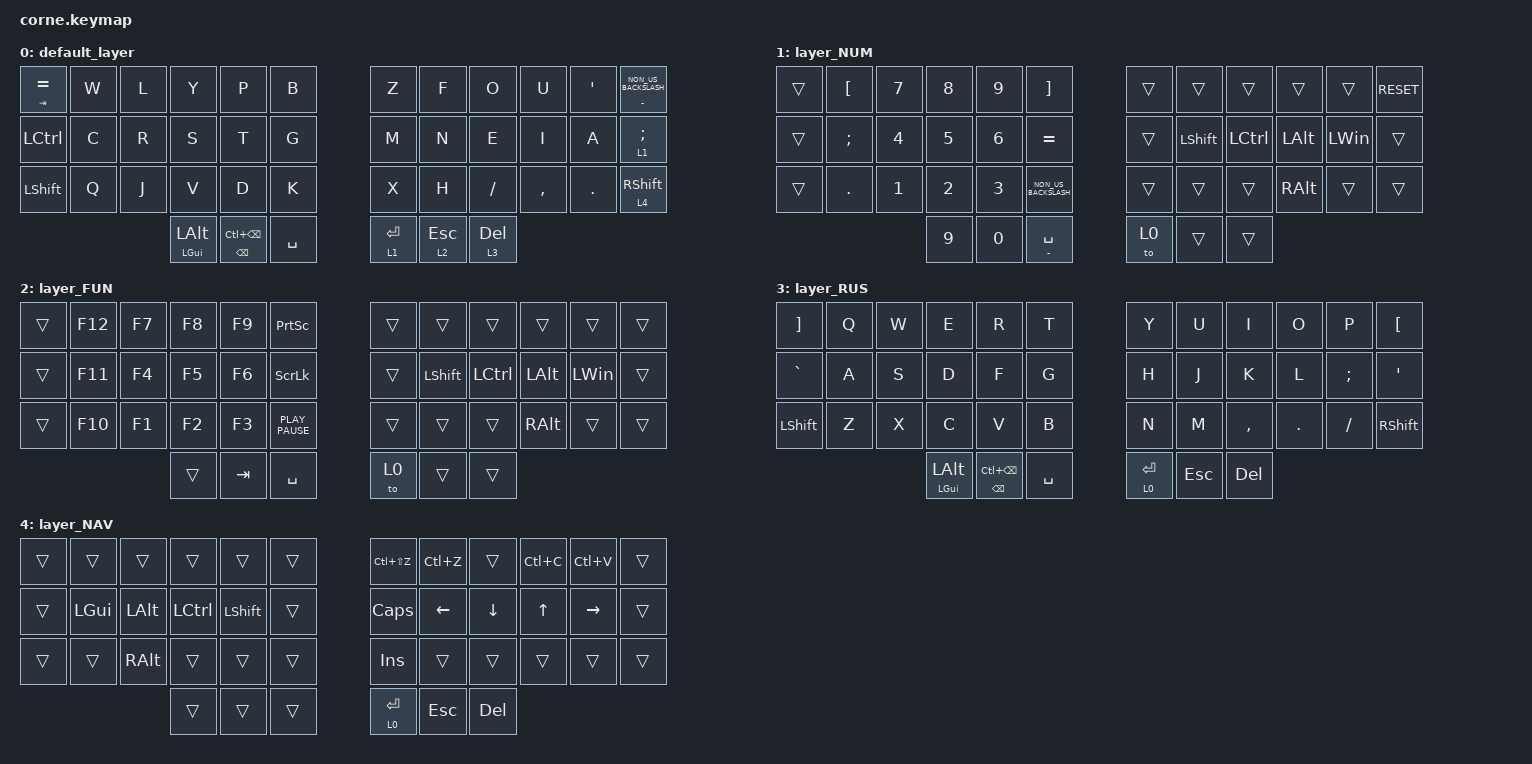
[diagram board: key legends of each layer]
/*
 * Copyright (c) 2020 The ZMK Contributors
 *
 * SPDX-License-Identifier: MIT
 */

#include <behaviors.dtsi>
#include <dt-bindings/zmk/keys.h>

/ {
    behaviors {
        tp: tap_preferred {
            compatible = "zmk,behavior-hold-tap";
            label = "TAP_PREFERRED";
            #binding-cells = <2>;
            tapping-term-ms = <150>;
            quick-tap-ms = <0>;
            flavor = "tap-preferred";
            bindings = <&kp>, <&kp>;
        };
    };

    combos { compatible = "zmk,combos"; };

    keymap {
        compatible = "zmk,keymap";

        default_layer {
            // -----------------------------------------------------------------------------------------
            // | TAB  |  Q  |  W  |  E  |  R  |    T    |   |  Y  |  U   |  I  |  O  |  P  | ESC |
            // | CTRL |  A  |  S  |  D  |  F  |    G    |   |  H  |  J   |  K  |  L  |  ;  |  LWR/'   |
            // | SHFT |  Z  |  X  |  C  |  V  |    B    |   |  N  |  M   |  ,  |  .  |  /  | SHFT |
            //                    | GUI | LWR | ALT/ENT |   | HYPER/SPC | BKSP  | RSE |

            bindings = <
&tp TAB EQUAL  &kp W  &kp L  &kp Y              &kp P                        &kp B        &kp Z        &kp F         &kp O      &kp U      &kp SQT     &tp MINUS NON_US_BACKSLASH
&kp LCTRL      &kp C  &kp R  &kp S              &kp T                        &kp G        &kp M        &kp N         &kp E      &kp I      &kp A       &lt 1 SEMICOLON
&kp LSHFT      &kp Q  &kp J  &kp V              &kp D                        &kp K        &kp X        &kp H         &kp SLASH  &kp COMMA  &kp PERIOD  &lt 4 RIGHT_SHIFT
                             &tp LGUI LEFT_ALT  &tp BACKSPACE LC(BACKSPACE)  &kp SPACE    &lt 1 ENTER  &lt 2 ESCAPE  &lt 3 DEL
            >;
        };

        layer_NUM {
            // -----------------------------------------------------------------------------------------
            // |      |  !  |  @  |  #  |  $  |    %     |   |  ^  |  &  |  *  |  (  |  )  |   \   |
            // |      |  1  |  2  |  3  |  4  |    5     |   |  -  |  =  |  `  |  [  |  ]  |  "|"  |
            // | SHFT |  6  |  7  |  8  |  9  |    0     |   |  _  |  +  |  ~  |  {  |  }  | RSHFT |
            //                     | GUI |     | ALT/ENT |   | HYPER/SPACE | BKSP |    |

            bindings = <
&trans  &kp LEFT_BRACKET  &kp N7        &kp N8        &kp N9        &kp RIGHT_BRACKET       &trans  &trans          &trans            &trans         &trans        &kp C_RESET
&trans  &kp SEMI          &kp NUMBER_4  &kp N5        &kp NUMBER_6  &kp EQUAL               &trans  &kp LEFT_SHIFT  &kp LEFT_CONTROL  &kp LEFT_ALT   &kp LEFT_WIN  &trans
&trans  &kp PERIOD        &kp NUMBER_1  &kp NUMBER_2  &kp NUMBER_3  &kp NON_US_BACKSLASH    &trans  &trans          &trans            &kp RIGHT_ALT  &trans        &trans
                                        &kp N9        &kp N0        &tp MINUS SPACE         &to 0   &trans          &trans
            >;
        };

        layer_FUN {
            bindings = <
&trans  &kp F12  &kp F7  &kp F8  &kp F9   &kp PRINTSCREEN     &trans  &trans          &trans            &trans         &trans        &trans
&trans  &kp F11  &kp F4  &kp F5  &kp F6   &kp SCROLLLOCK      &trans  &kp LEFT_SHIFT  &kp LEFT_CONTROL  &kp LEFT_ALT   &kp LEFT_WIN  &trans
&trans  &kp F10  &kp F1  &kp F2  &kp F3   &kp K_PLAY_PAUSE    &trans  &trans          &trans            &kp RIGHT_ALT  &trans        &trans
                         &trans  &kp TAB  &kp SPACE           &to 0   &trans          &trans
            >;
        };

        layer_RUS {
            bindings = <
&kp RIGHT_BRACKET  &kp Q  &kp W  &kp E              &kp R                        &kp T        &kp Y        &kp U       &kp I       &kp O    &kp P          &kp LEFT_BRACKET
&kp GRAVE          &kp A  &kp S  &kp D              &kp F                        &kp G        &kp H        &kp J       &kp K       &kp L    &kp SEMICOLON  &kp SQT
&kp LSHFT          &kp Z  &kp X  &kp C              &kp V                        &kp B        &kp N        &kp M       &kp COMMA   &kp DOT  &kp FSLH       &kp RIGHT_SHIFT
                                 &tp LGUI LEFT_ALT  &tp BACKSPACE LC(BACKSPACE)  &kp SPACE    &lt 0 ENTER  &kp ESCAPE  &kp DELETE
            >;
        };

        layer_NAV {
            bindings = <
&trans  &trans        &trans         &trans     &trans          &trans    &kp LC(LS(Z))  &kp LC(Z)       &trans          &kp LC(C)     &kp LC(V)  &trans
&trans  &kp LEFT_GUI  &kp LEFT_ALT   &kp LCTRL  &kp LEFT_SHIFT  &trans    &kp CLCK       &kp LEFT_ARROW  &kp DOWN_ARROW  &kp UP_ARROW  &kp RIGHT  &trans
&trans  &trans        &kp RIGHT_ALT  &trans     &trans          &trans    &kp INSERT     &trans          &trans          &trans        &trans     &trans
                                     &trans     &trans          &trans    &lt 0 ENTER    &kp ESCAPE      &kp DEL
            >;
        };
    };
};
